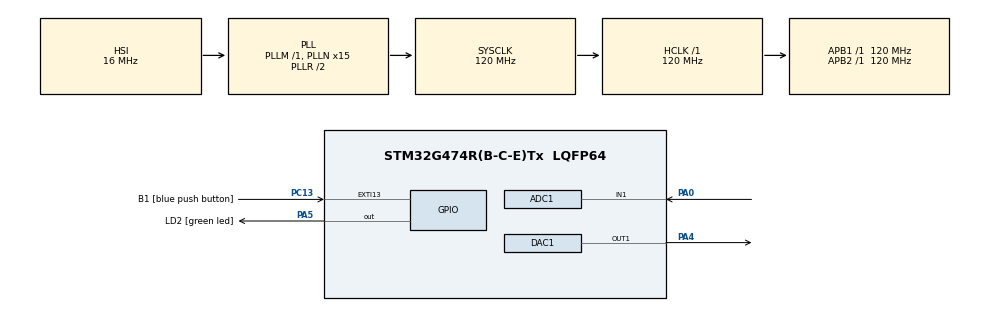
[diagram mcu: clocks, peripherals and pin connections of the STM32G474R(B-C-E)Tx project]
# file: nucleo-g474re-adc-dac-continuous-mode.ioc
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ADC1.Channel-0\#ChannelRegularConversion=ADC_CHANNEL_1
ADC1.ContinuousConvMode=ENABLE
ADC1.EOCSelection=ADC_EOC_SEQ_CONV
ADC1.NbrOfConversion=1
ADC1.NbrOfConversionFlag=1
ADC1.OffsetNumber-0\#ChannelRegularConversion=ADC_OFFSET_NONE
ADC1.Overrun=ADC_OVR_DATA_OVERWRITTEN
ADC1.OversamplingMode=DISABLE
ADC1.Rank-0\#ChannelRegularConversion=1
ADC1.SamplingTime-0\#ChannelRegularConversion=ADC_SAMPLETIME_2CYCLES_5
ADC1.master=1
DAC1.DAC_OutputBuffer-DAC_OUT1=DAC_OUTPUTBUFFER_DISABLE
Mcu.Family=STM32G4
Mcu.Name=STM32G474R(B-C-E)Tx
Mcu.Package=LQFP64
NVIC.EXTI15_10_IRQn=true\:0\:0\:false\:false\:true\:true\:true\:true
NVIC.PriorityGroup=NVIC_PRIORITYGROUP_4
PA0.Mode=IN1-Single-Ended
PA0.Signal=ADC1_IN1
PA13.GPIO_Label=T_SWDIO
PA13.Mode=Serial_Wire
PA13.Signal=SYS_JTMS-SWDIO
PA14.GPIO_Label=T_SWCLK
PA14.Mode=Serial_Wire
PA14.Signal=SYS_JTCK-SWCLK
PA4.Signal=COMP_DAC11_group
PA5.GPIO_Label=LD2 [green led]
PA5.Signal=GPIO_Output
PB3.GPIO_Label=T_SWO
PB3.Signal=SYS_JTDO-SWO
PC13.GPIO_Label=B1 [blue push button]
PC13.Signal=GPXTI13
PC14-OSC32_IN.Mode=LSE-External-Oscillator
PC14-OSC32_IN.Signal=RCC_OSC32_IN
PC15-OSC32_OUT.Mode=LSE-External-Oscillator
PC15-OSC32_OUT.Signal=RCC_OSC32_OUT
PF0-OSC_IN.Mode=HSE-External-Oscillator
PF0-OSC_IN.Signal=RCC_OSC_IN
PF1-OSC_OUT.Mode=HSE-External-Oscillator
PF1-OSC_OUT.Signal=RCC_OSC_OUT
ProjectManager.HeapSize=0x200
ProjectManager.StackSize=0x400
ProjectManager.TargetToolchain=STM32CubeIDE
RCC.ADC12Freq_Value=120000000
RCC.ADC345Freq_Value=120000000
RCC.AHBFreq_Value=120000000
RCC.APB1Freq_Value=120000000
RCC.APB1TimFreq_Value=120000000
RCC.APB2Freq_Value=120000000
RCC.APB2TimFreq_Value=120000000
RCC.CortexFreq_Value=120000000
RCC.EXTERNAL_CLOCK_VALUE=12288000
RCC.HCLKFreq_Value=120000000
RCC.HSE_VALUE=24000000
RCC.HSI48_VALUE=48000000
RCC.HSI_VALUE=16000000
RCC.PLLN=15
RCC.RTCClockSelection=RCC_RTCCLKSOURCE_LSE
RCC.SYSCLKFreq_VALUE=120000000
RCC.SYSCLKSource=RCC_SYSCLKSOURCE_PLLCLK
RCC.USBFreq_Value=120000000
RCC.VCOOutputFreq_Value=240000000
SH.COMP_DAC11_group.0=DAC1_OUT1,DAC_OUT1
TIM2.AutoReloadPreload=TIM_AUTORELOAD_PRELOAD_ENABLE
TIM2.ClockDivision=TIM_CLOCKDIVISION_DIV2
TIM2.CounterMode=TIM_COUNTERMODE_UP
TIM2.PeriodNoDither=0xffffffff
TIM2.Prescaler=0
VP_SYS_VS_DBSignals.Mode=DisableDeadBatterySignals
VP_TIM2_VS_ClockSourceINT.Mode=Internal
board=NUCLEO-G474RE

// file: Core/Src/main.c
/* USER CODE BEGIN Header */
/**
  ******************************************************************************
  * @file           : main.c
  * @brief          : Main program body
  ******************************************************************************
  * @attention
  *
  * Copyright (c) 2024 STMicroelectronics.
  * All rights reserved.
  *
  * This software is licensed under terms that can be found in the LICENSE file
  * in the root directory of this software component.
  * If no LICENSE file comes with this software, it is provided AS-IS.
  *
  ******************************************************************************
  */
/* USER CODE END Header */
#include "main.h"

ADC_HandleTypeDef hadc1;

DAC_HandleTypeDef hdac1;

TIM_HandleTypeDef htim2;

/* USER CODE BEGIN PV */
uint16_t adcResult = 0;
uint32_t timerValueAtStart = 0;
uint32_t timerValueAfterADC = 0;
uint32_t timerValueAfterDAC = 0;
uint32_t timeADC = 0;
uint32_t timeDAC = 0;
/* USER CODE END PV */

void SystemClock_Config(void);
static void MX_GPIO_Init(void);
static void MX_ADC1_Init(void);
static void MX_TIM2_Init(void);
static void MX_DAC1_Init(void);

int main(void)
{

  /* MCU Configuration--------------------------------------------------------*/

  /* Reset of all peripherals, Initializes the Flash interface and the Systick. */
  HAL_Init();

  /* Configure the system clock */
  SystemClock_Config();

  /* Initialize all configured peripherals */
  MX_GPIO_Init();
  MX_ADC1_Init();
  MX_TIM2_Init();
  MX_DAC1_Init();
  /* USER CODE BEGIN 2 */
  HAL_TIM_Base_Start(&htim2);
  HAL_ADC_Start(&hadc1);
  HAL_DAC_Start(&hdac1, DAC_CHANNEL_1);
  /* USER CODE END 2 */

  /* Infinite loop */
  while (1)
  {

    /* USER CODE BEGIN 3 */

	  // TIM2 prescaler = 0, T = 1/120MHz = 8.33(3)ns
	  timerValueAtStart = TIM2->CNT;			// read TIM2 counter at begin

		while (!((ADC1->ISR) & ADC_ISR_EOC)){;} // wait for EOC (end of conversion) flag is set

		adcResult = ADC1->DR;					// read ADC value
//		adcResult = HAL_ADC_GetValue(&hadc1);   //read ADC value with HAL

		timerValueAfterADC = TIM2->CNT;			//read TIM2 counter after ADC
		timeADC = timerValueAfterADC - timerValueAtStart;

		DAC1->DHR12R1 = adcResult;				// pass adcResult to DAC
		while (! ((DAC1->SR) & DAC_SR_DAC1RDY)){;} // wait for DAC_SR_DAC1RDY (dac1 status register DAC channel1) is ready to accept the trigger or output data
//		HAL_DAC_SetValue(&hdac1, DAC_CHANNEL_1, DAC_ALIGN_12B_R, adcResult);  // pass adcResult to DAC with HAL

		timerValueAfterDAC = TIM2->CNT;			//read TIM2 counter after DAC
		timeDAC = timerValueAfterDAC - timerValueAfterADC;
  }
  /* USER CODE END 3 */
}

void SystemClock_Config(void)
{
  RCC_OscInitTypeDef RCC_OscInitStruct = {0};
  RCC_ClkInitTypeDef RCC_ClkInitStruct = {0};

  /** Configure the main internal regulator output voltage
  */
  HAL_PWREx_ControlVoltageScaling(PWR_REGULATOR_VOLTAGE_SCALE1);

  /** Initializes the RCC Oscillators according to the specified parameters
  * in the RCC_OscInitTypeDef structure.
  */
  RCC_OscInitStruct.OscillatorType = RCC_OSCILLATORTYPE_HSI;
  RCC_OscInitStruct.HSIState = RCC_HSI_ON;
  RCC_OscInitStruct.HSICalibrationValue = RCC_HSICALIBRATION_DEFAULT;
  RCC_OscInitStruct.PLL.PLLState = RCC_PLL_ON;
  RCC_OscInitStruct.PLL.PLLSource = RCC_PLLSOURCE_HSI;
  RCC_OscInitStruct.PLL.PLLM = RCC_PLLM_DIV1;
  RCC_OscInitStruct.PLL.PLLN = 15;
  RCC_OscInitStruct.PLL.PLLP = RCC_PLLP_DIV2;
  RCC_OscInitStruct.PLL.PLLQ = RCC_PLLQ_DIV2;
  RCC_OscInitStruct.PLL.PLLR = RCC_PLLR_DIV2;
  if (HAL_RCC_OscConfig(&RCC_OscInitStruct) != HAL_OK)
  {
    Error_Handler();
  }

  /** Initializes the CPU, AHB and APB buses clocks
  */
  RCC_ClkInitStruct.ClockType = RCC_CLOCKTYPE_HCLK|RCC_CLOCKTYPE_SYSCLK
                              |RCC_CLOCKTYPE_PCLK1|RCC_CLOCKTYPE_PCLK2;
  RCC_ClkInitStruct.SYSCLKSource = RCC_SYSCLKSOURCE_PLLCLK;
  RCC_ClkInitStruct.AHBCLKDivider = RCC_SYSCLK_DIV1;
  RCC_ClkInitStruct.APB1CLKDivider = RCC_HCLK_DIV1;
  RCC_ClkInitStruct.APB2CLKDivider = RCC_HCLK_DIV1;

  if (HAL_RCC_ClockConfig(&RCC_ClkInitStruct, FLASH_LATENCY_3) != HAL_OK)
  {
    Error_Handler();
  }
}

static void MX_ADC1_Init(void)
{

  ADC_MultiModeTypeDef multimode = {0};
  ADC_ChannelConfTypeDef sConfig = {0};

  /** Common config
  */
  hadc1.Instance = ADC1;
  hadc1.Init.ClockPrescaler = ADC_CLOCK_SYNC_PCLK_DIV2;
  hadc1.Init.Resolution = ADC_RESOLUTION_12B;
  hadc1.Init.DataAlign = ADC_DATAALIGN_RIGHT;
  hadc1.Init.GainCompensation = 0;
  hadc1.Init.ScanConvMode = ADC_SCAN_DISABLE;
  hadc1.Init.EOCSelection = ADC_EOC_SEQ_CONV;
  hadc1.Init.LowPowerAutoWait = DISABLE;
  hadc1.Init.ContinuousConvMode = ENABLE;
  hadc1.Init.NbrOfConversion = 1;
  hadc1.Init.DiscontinuousConvMode = DISABLE;
  hadc1.Init.ExternalTrigConv = ADC_SOFTWARE_START;
  hadc1.Init.ExternalTrigConvEdge = ADC_EXTERNALTRIGCONVEDGE_NONE;
  hadc1.Init.DMAContinuousRequests = DISABLE;
  hadc1.Init.Overrun = ADC_OVR_DATA_OVERWRITTEN;
  hadc1.Init.OversamplingMode = DISABLE;
  if (HAL_ADC_Init(&hadc1) != HAL_OK)
  {
    Error_Handler();
  }

  /** Configure the ADC multi-mode
  */
  multimode.Mode = ADC_MODE_INDEPENDENT;
  if (HAL_ADCEx_MultiModeConfigChannel(&hadc1, &multimode) != HAL_OK)
  {
    Error_Handler();
  }

  /** Configure Regular Channel
  */
  sConfig.Channel = ADC_CHANNEL_1;
  sConfig.Rank = ADC_REGULAR_RANK_1;
  sConfig.SamplingTime = ADC_SAMPLETIME_2CYCLES_5;
  sConfig.SingleDiff = ADC_SINGLE_ENDED;
  sConfig.OffsetNumber = ADC_OFFSET_NONE;
  sConfig.Offset = 0;
  if (HAL_ADC_ConfigChannel(&hadc1, &sConfig) != HAL_OK)
  {
    Error_Handler();
  }

}

static void MX_DAC1_Init(void)
{

  DAC_ChannelConfTypeDef sConfig = {0};

  /** DAC Initialization
  */
  hdac1.Instance = DAC1;
  if (HAL_DAC_Init(&hdac1) != HAL_OK)
  {
    Error_Handler();
  }

  /** DAC channel OUT1 config
  */
  sConfig.DAC_HighFrequency = DAC_HIGH_FREQUENCY_INTERFACE_MODE_AUTOMATIC;
  sConfig.DAC_DMADoubleDataMode = DISABLE;
  sConfig.DAC_SignedFormat = DISABLE;
  sConfig.DAC_SampleAndHold = DAC_SAMPLEANDHOLD_DISABLE;
  sConfig.DAC_Trigger = DAC_TRIGGER_NONE;
  sConfig.DAC_Trigger2 = DAC_TRIGGER_NONE;
  sConfig.DAC_OutputBuffer = DAC_OUTPUTBUFFER_DISABLE;
  sConfig.DAC_ConnectOnChipPeripheral = DAC_CHIPCONNECT_EXTERNAL;
  sConfig.DAC_UserTrimming = DAC_TRIMMING_FACTORY;
  if (HAL_DAC_ConfigChannel(&hdac1, &sConfig, DAC_CHANNEL_1) != HAL_OK)
  {
    Error_Handler();
  }

}

static void MX_TIM2_Init(void)
{

  TIM_ClockConfigTypeDef sClockSourceConfig = {0};
  TIM_MasterConfigTypeDef sMasterConfig = {0};

  htim2.Instance = TIM2;
  htim2.Init.Prescaler = 0;
  htim2.Init.CounterMode = TIM_COUNTERMODE_UP;
  htim2.Init.Period = 4294967295;
  htim2.Init.ClockDivision = TIM_CLOCKDIVISION_DIV2;
  htim2.Init.AutoReloadPreload = TIM_AUTORELOAD_PRELOAD_ENABLE;
  if (HAL_TIM_Base_Init(&htim2) != HAL_OK)
  {
    Error_Handler();
  }
  sClockSourceConfig.ClockSource = TIM_CLOCKSOURCE_INTERNAL;
  if (HAL_TIM_ConfigClockSource(&htim2, &sClockSourceConfig) != HAL_OK)
  {
    Error_Handler();
  }
  sMasterConfig.MasterOutputTrigger = TIM_TRGO_RESET;
  sMasterConfig.MasterSlaveMode = TIM_MASTERSLAVEMODE_DISABLE;
  if (HAL_TIMEx_MasterConfigSynchronization(&htim2, &sMasterConfig) != HAL_OK)
  {
    Error_Handler();
  }

}

static void MX_GPIO_Init(void)
{
  GPIO_InitTypeDef GPIO_InitStruct = {0};

  /* GPIO Ports Clock Enable */
  __HAL_RCC_GPIOC_CLK_ENABLE();
  __HAL_RCC_GPIOF_CLK_ENABLE();
  __HAL_RCC_GPIOA_CLK_ENABLE();
  __HAL_RCC_GPIOB_CLK_ENABLE();

  /*Configure GPIO pin Output Level */
  HAL_GPIO_WritePin(LD2_GPIO_Port, LD2_Pin, GPIO_PIN_RESET);

  /*Configure GPIO pin : B1_Pin */
  GPIO_InitStruct.Pin = B1_Pin;
  GPIO_InitStruct.Mode = GPIO_MODE_IT_RISING;
  GPIO_InitStruct.Pull = GPIO_NOPULL;
  HAL_GPIO_Init(B1_GPIO_Port, &GPIO_InitStruct);

  /*Configure GPIO pin : LD2_Pin */
  GPIO_InitStruct.Pin = LD2_Pin;
  GPIO_InitStruct.Mode = GPIO_MODE_OUTPUT_PP;
  GPIO_InitStruct.Pull = GPIO_NOPULL;
  GPIO_InitStruct.Speed = GPIO_SPEED_FREQ_LOW;
  HAL_GPIO_Init(LD2_GPIO_Port, &GPIO_InitStruct);

  /* EXTI interrupt init*/
  HAL_NVIC_SetPriority(EXTI15_10_IRQn, 0, 0);
  HAL_NVIC_EnableIRQ(EXTI15_10_IRQn);

}

void Error_Handler(void)
{
  __disable_irq();
  while (1)
  {
  }
}
